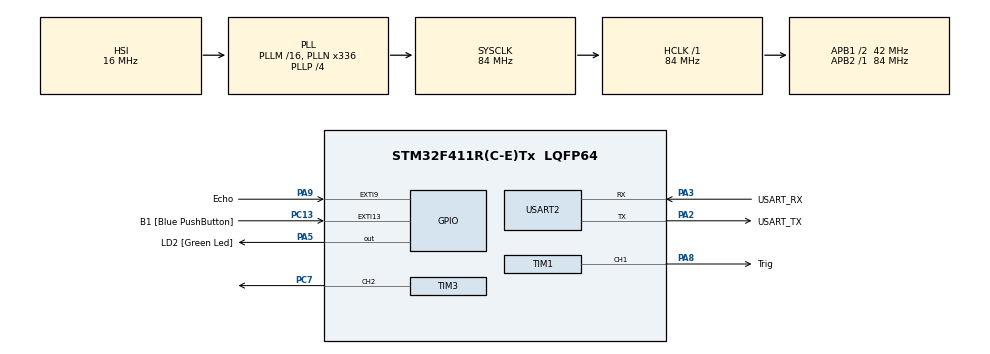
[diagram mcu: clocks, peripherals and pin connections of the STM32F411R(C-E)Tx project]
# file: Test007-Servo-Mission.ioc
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Mcu.Family=STM32F4
Mcu.Name=STM32F411R(C-E)Tx
Mcu.Package=LQFP64
NVIC.EXTI9_5_IRQn=true\:0\:0\:false\:false\:true\:true\:true\:true
NVIC.PriorityGroup=NVIC_PRIORITYGROUP_0
PA13.GPIO_Label=TMS
PA13.Mode=Serial_Wire
PA13.Signal=SYS_JTMS-SWDIO
PA14.GPIO_Label=TCK
PA14.Mode=Serial_Wire
PA14.Signal=SYS_JTCK-SWCLK
PA2.GPIO_Label=USART_TX
PA2.Mode=Asynchronous
PA2.Signal=USART2_TX
PA3.GPIO_Label=USART_RX
PA3.Mode=Asynchronous
PA3.Signal=USART2_RX
PA5.GPIO_Label=LD2 [Green Led]
PA5.Signal=GPIO_Output
PA8.GPIO_Label=Trig
PA8.Signal=S_TIM1_CH1
PA9.GPIO_Label=Echo
PA9.GPIO_ModeDefaultEXTI=GPIO_MODE_IT_RISING_FALLING
PA9.Signal=GPXTI9
PB3.GPIO_Label=SWO
PB3.Signal=SYS_JTDO-SWO
PC13-ANTI_TAMP.GPIO_Label=B1 [Blue PushButton]
PC13-ANTI_TAMP.GPIO_ModeDefaultEXTI=GPIO_MODE_IT_FALLING
PC13-ANTI_TAMP.Signal=GPXTI13
PC14-OSC32_IN.Mode=LSE-External-Oscillator
PC14-OSC32_IN.Signal=RCC_OSC32_IN
PC15-OSC32_OUT.Mode=LSE-External-Oscillator
PC15-OSC32_OUT.Signal=RCC_OSC32_OUT
PC7.Signal=S_TIM3_CH2
PH0\ -\ OSC_IN.Mode=HSE-External-Clock-Source
PH0\ -\ OSC_IN.Signal=RCC_OSC_IN
PH1\ -\ OSC_OUT.Mode=HSE-External-Clock-Source
PH1\ -\ OSC_OUT.Signal=RCC_OSC_OUT
ProjectManager.HeapSize=0x200
ProjectManager.StackSize=0x400
ProjectManager.TargetToolchain=STM32CubeIDE
RCC.48MHZClocksFreq_Value=84000000
RCC.AHBFreq_Value=84000000
RCC.APB1CLKDivider=RCC_HCLK_DIV2
RCC.APB1Freq_Value=42000000
RCC.APB1TimFreq_Value=84000000
RCC.APB2Freq_Value=84000000
RCC.APB2TimFreq_Value=84000000
RCC.CortexFreq_Value=84000000
RCC.FLatency-AdvancedSettings=FLASH_LATENCY_2
RCC.HCLKFreq_Value=84000000
RCC.HSE_VALUE=8000000
RCC.HSI_VALUE=16000000
RCC.PLLN=336
RCC.PLLP=RCC_PLLP_DIV4
RCC.SYSCLKFreq_VALUE=84000000
RCC.SYSCLKSource=RCC_SYSCLKSOURCE_PLLCLK
RCC.VCOOutputFreq_Value=336000000
SH.S_TIM1_CH1.0=TIM1_CH1,PWM Generation1 CH1
SH.S_TIM3_CH2.0=TIM3_CH2,PWM Generation2 CH2
TIM1.Channel-PWM\ Generation1\ CH1=TIM_CHANNEL_1
TIM1.Period=60000-1
TIM1.Prescaler=84-1
TIM1.Pulse-PWM\ Generation1\ CH1=10
TIM2.Prescaler=84-1
TIM3.Channel-PWM\ Generation2\ CH2=TIM_CHANNEL_2
TIM3.Period=1000-1
TIM3.Prescaler=1680-1
USART2.VirtualMode=VM_ASYNC
VP_TIM1_VS_ClockSourceINT.Mode=Internal
VP_TIM2_VS_ClockSourceINT.Mode=Internal
VP_TIM3_VS_ClockSourceINT.Mode=Internal
board=NUCLEO-F411RE

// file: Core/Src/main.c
/* USER CODE BEGIN Header */
/**
  ******************************************************************************
  * @file           : main.c
  * @brief          : Main program body
  ******************************************************************************
  * @attention
  *
  * Copyright (c) 2025 STMicroelectronics.
  * All rights reserved.
  *
  * This software is licensed under terms that can be found in the LICENSE file
  * in the root directory of this software component.
  * If no LICENSE file comes with this software, it is provided AS-IS.
  *
  ******************************************************************************
  */
/* USER CODE END Header */
#include "main.h"

/* USER CODE BEGIN Includes */
#include "uSonic.h"

/* USER CODE END Includes */

TIM_HandleTypeDef htim1;
TIM_HandleTypeDef htim2;
TIM_HandleTypeDef htim3;

UART_HandleTypeDef huart2;

void SystemClock_Config(void);
static void MX_GPIO_Init(void);
static void MX_USART2_UART_Init(void);
static void MX_TIM1_Init(void);
static void MX_TIM2_Init(void);
static void MX_TIM3_Init(void);

/* USER CODE BEGIN 0 */
int t1 = 0, t2 = 0;
double dist = 0.0;
void HAL_GPIO_EXTI_Callback(uint16_t GPIO_Pin)
{
	if(GPIO_Pin == Echo_Pin)
	{
		if(HAL_GPIO_ReadPin(Echo_GPIO_Port,Echo_Pin) == 1)//rising time
		{
			t1 = htim2.Instance->CNT;
		}
		else //falling time
		{
			t2 = htim2.Instance->CNT;
			dist = (t2-t1) * 0.17;
		}
	}
}
/* USER CODE END 0 */

int main(void)
{

  /* MCU Configuration--------------------------------------------------------*/

  /* Reset of all peripherals, Initializes the Flash interface and the Systick. */
  HAL_Init();

  /* Configure the system clock */
  SystemClock_Config();

  /* Initialize all configured peripherals */
  MX_GPIO_Init();
  MX_USART2_UART_Init();
  MX_TIM1_Init();
  MX_TIM2_Init();
  MX_TIM3_Init();
  /* USER CODE BEGIN 2 */
  ProgramStart("Mission - DoorLock");
  HAL_TIM_Base_Start(&htim2);
  HAL_TIM_PWM_Start(&htim1,TIM_CHANNEL_1);
  HAL_TIM_PWM_Start(&htim3,TIM_CHANNEL_2);

  htim1.Instance->CCR1 = 10;
  htim3.Instance->CCR2 = 50;
  /* USER CODE END 2 */

  /* Infinite loop */
  /* USER CODE BEGIN WHILE */
  int cval;
  int open = 50;
  while (1)
  {
	  /*printf("Input Angle : ");
	  scanf("%d",&cval);
	  htim3.Instance->CCR2 = cval;
	  printf("Angle : %d \n\r",cval );
	  HAL_Delay(500);
	  */

	  int iDist = dist /10; //mm -> cm
	  Cursor(0,5);
	  printf("Distance : %d cm \r\n", iDist);

	  if(iDist < open)
		  {
			  printf(" Door Open. \r\n");
		  	  htim3.Instance->CCR2 = 102;
		  }
	  else
		  {
			  printf(" Door Close. \r\n");
		  	  htim3.Instance->CCR2 = 48;
		  }
	  HAL_Delay(500);
    /* USER CODE END WHILE */

  }
}

void SystemClock_Config(void)
{
  RCC_OscInitTypeDef RCC_OscInitStruct = {0};
  RCC_ClkInitTypeDef RCC_ClkInitStruct = {0};

  /** Configure the main internal regulator output voltage
  */
  __HAL_RCC_PWR_CLK_ENABLE();
  __HAL_PWR_VOLTAGESCALING_CONFIG(PWR_REGULATOR_VOLTAGE_SCALE1);

  /** Initializes the RCC Oscillators according to the specified parameters
  * in the RCC_OscInitTypeDef structure.
  */
  RCC_OscInitStruct.OscillatorType = RCC_OSCILLATORTYPE_HSI;
  RCC_OscInitStruct.HSIState = RCC_HSI_ON;
  RCC_OscInitStruct.HSICalibrationValue = RCC_HSICALIBRATION_DEFAULT;
  RCC_OscInitStruct.PLL.PLLState = RCC_PLL_ON;
  RCC_OscInitStruct.PLL.PLLSource = RCC_PLLSOURCE_HSI;
  RCC_OscInitStruct.PLL.PLLM = 16;
  RCC_OscInitStruct.PLL.PLLN = 336;
  RCC_OscInitStruct.PLL.PLLP = RCC_PLLP_DIV4;
  RCC_OscInitStruct.PLL.PLLQ = 4;
  if (HAL_RCC_OscConfig(&RCC_OscInitStruct) != HAL_OK)
  {
    Error_Handler();
  }

  /** Initializes the CPU, AHB and APB buses clocks
  */
  RCC_ClkInitStruct.ClockType = RCC_CLOCKTYPE_HCLK|RCC_CLOCKTYPE_SYSCLK
                              |RCC_CLOCKTYPE_PCLK1|RCC_CLOCKTYPE_PCLK2;
  RCC_ClkInitStruct.SYSCLKSource = RCC_SYSCLKSOURCE_PLLCLK;
  RCC_ClkInitStruct.AHBCLKDivider = RCC_SYSCLK_DIV1;
  RCC_ClkInitStruct.APB1CLKDivider = RCC_HCLK_DIV2;
  RCC_ClkInitStruct.APB2CLKDivider = RCC_HCLK_DIV1;

  if (HAL_RCC_ClockConfig(&RCC_ClkInitStruct, FLASH_LATENCY_2) != HAL_OK)
  {
    Error_Handler();
  }
}

static void MX_TIM1_Init(void)
{

  TIM_ClockConfigTypeDef sClockSourceConfig = {0};
  TIM_MasterConfigTypeDef sMasterConfig = {0};
  TIM_OC_InitTypeDef sConfigOC = {0};
  TIM_BreakDeadTimeConfigTypeDef sBreakDeadTimeConfig = {0};

  htim1.Instance = TIM1;
  htim1.Init.Prescaler = 84-1;
  htim1.Init.CounterMode = TIM_COUNTERMODE_UP;
  htim1.Init.Period = 60000-1;
  htim1.Init.ClockDivision = TIM_CLOCKDIVISION_DIV1;
  htim1.Init.RepetitionCounter = 0;
  htim1.Init.AutoReloadPreload = TIM_AUTORELOAD_PRELOAD_DISABLE;
  if (HAL_TIM_Base_Init(&htim1) != HAL_OK)
  {
    Error_Handler();
  }
  sClockSourceConfig.ClockSource = TIM_CLOCKSOURCE_INTERNAL;
  if (HAL_TIM_ConfigClockSource(&htim1, &sClockSourceConfig) != HAL_OK)
  {
    Error_Handler();
  }
  if (HAL_TIM_PWM_Init(&htim1) != HAL_OK)
  {
    Error_Handler();
  }
  sMasterConfig.MasterOutputTrigger = TIM_TRGO_RESET;
  sMasterConfig.MasterSlaveMode = TIM_MASTERSLAVEMODE_DISABLE;
  if (HAL_TIMEx_MasterConfigSynchronization(&htim1, &sMasterConfig) != HAL_OK)
  {
    Error_Handler();
  }
  sConfigOC.OCMode = TIM_OCMODE_PWM1;
  sConfigOC.Pulse = 10;
  sConfigOC.OCPolarity = TIM_OCPOLARITY_HIGH;
  sConfigOC.OCNPolarity = TIM_OCNPOLARITY_HIGH;
  sConfigOC.OCFastMode = TIM_OCFAST_DISABLE;
  sConfigOC.OCIdleState = TIM_OCIDLESTATE_RESET;
  sConfigOC.OCNIdleState = TIM_OCNIDLESTATE_RESET;
  if (HAL_TIM_PWM_ConfigChannel(&htim1, &sConfigOC, TIM_CHANNEL_1) != HAL_OK)
  {
    Error_Handler();
  }
  sBreakDeadTimeConfig.OffStateRunMode = TIM_OSSR_DISABLE;
  sBreakDeadTimeConfig.OffStateIDLEMode = TIM_OSSI_DISABLE;
  sBreakDeadTimeConfig.LockLevel = TIM_LOCKLEVEL_OFF;
  sBreakDeadTimeConfig.DeadTime = 0;
  sBreakDeadTimeConfig.BreakState = TIM_BREAK_DISABLE;
  sBreakDeadTimeConfig.BreakPolarity = TIM_BREAKPOLARITY_HIGH;
  sBreakDeadTimeConfig.AutomaticOutput = TIM_AUTOMATICOUTPUT_DISABLE;
  if (HAL_TIMEx_ConfigBreakDeadTime(&htim1, &sBreakDeadTimeConfig) != HAL_OK)
  {
    Error_Handler();
  }
  HAL_TIM_MspPostInit(&htim1);

}

static void MX_TIM2_Init(void)
{

  TIM_ClockConfigTypeDef sClockSourceConfig = {0};
  TIM_MasterConfigTypeDef sMasterConfig = {0};

  htim2.Instance = TIM2;
  htim2.Init.Prescaler = 84-1;
  htim2.Init.CounterMode = TIM_COUNTERMODE_UP;
  htim2.Init.Period = 4294967295;
  htim2.Init.ClockDivision = TIM_CLOCKDIVISION_DIV1;
  htim2.Init.AutoReloadPreload = TIM_AUTORELOAD_PRELOAD_DISABLE;
  if (HAL_TIM_Base_Init(&htim2) != HAL_OK)
  {
    Error_Handler();
  }
  sClockSourceConfig.ClockSource = TIM_CLOCKSOURCE_INTERNAL;
  if (HAL_TIM_ConfigClockSource(&htim2, &sClockSourceConfig) != HAL_OK)
  {
    Error_Handler();
  }
  sMasterConfig.MasterOutputTrigger = TIM_TRGO_RESET;
  sMasterConfig.MasterSlaveMode = TIM_MASTERSLAVEMODE_DISABLE;
  if (HAL_TIMEx_MasterConfigSynchronization(&htim2, &sMasterConfig) != HAL_OK)
  {
    Error_Handler();
  }

}

static void MX_TIM3_Init(void)
{

  TIM_ClockConfigTypeDef sClockSourceConfig = {0};
  TIM_MasterConfigTypeDef sMasterConfig = {0};
  TIM_OC_InitTypeDef sConfigOC = {0};

  htim3.Instance = TIM3;
  htim3.Init.Prescaler = 1680-1;
  htim3.Init.CounterMode = TIM_COUNTERMODE_UP;
  htim3.Init.Period = 1000-1;
  htim3.Init.ClockDivision = TIM_CLOCKDIVISION_DIV1;
  htim3.Init.AutoReloadPreload = TIM_AUTORELOAD_PRELOAD_DISABLE;
  if (HAL_TIM_Base_Init(&htim3) != HAL_OK)
  {
    Error_Handler();
  }
  sClockSourceConfig.ClockSource = TIM_CLOCKSOURCE_INTERNAL;
  if (HAL_TIM_ConfigClockSource(&htim3, &sClockSourceConfig) != HAL_OK)
  {
    Error_Handler();
  }
  if (HAL_TIM_PWM_Init(&htim3) != HAL_OK)
  {
    Error_Handler();
  }
  sMasterConfig.MasterOutputTrigger = TIM_TRGO_RESET;
  sMasterConfig.MasterSlaveMode = TIM_MASTERSLAVEMODE_DISABLE;
  if (HAL_TIMEx_MasterConfigSynchronization(&htim3, &sMasterConfig) != HAL_OK)
  {
    Error_Handler();
  }
  sConfigOC.OCMode = TIM_OCMODE_PWM1;
  sConfigOC.Pulse = 0;
  sConfigOC.OCPolarity = TIM_OCPOLARITY_HIGH;
  sConfigOC.OCFastMode = TIM_OCFAST_DISABLE;
  if (HAL_TIM_PWM_ConfigChannel(&htim3, &sConfigOC, TIM_CHANNEL_2) != HAL_OK)
  {
    Error_Handler();
  }
  HAL_TIM_MspPostInit(&htim3);

}

static void MX_USART2_UART_Init(void)
{

  huart2.Instance = USART2;
  huart2.Init.BaudRate = 115200;
  huart2.Init.WordLength = UART_WORDLENGTH_8B;
  huart2.Init.StopBits = UART_STOPBITS_1;
  huart2.Init.Parity = UART_PARITY_NONE;
  huart2.Init.Mode = UART_MODE_TX_RX;
  huart2.Init.HwFlowCtl = UART_HWCONTROL_NONE;
  huart2.Init.OverSampling = UART_OVERSAMPLING_16;
  if (HAL_UART_Init(&huart2) != HAL_OK)
  {
    Error_Handler();
  }

}

static void MX_GPIO_Init(void)
{
  GPIO_InitTypeDef GPIO_InitStruct = {0};

  /* GPIO Ports Clock Enable */
  __HAL_RCC_GPIOC_CLK_ENABLE();
  __HAL_RCC_GPIOH_CLK_ENABLE();
  __HAL_RCC_GPIOA_CLK_ENABLE();
  __HAL_RCC_GPIOB_CLK_ENABLE();

  /*Configure GPIO pin Output Level */
  HAL_GPIO_WritePin(LD2_GPIO_Port, LD2_Pin, GPIO_PIN_RESET);

  /*Configure GPIO pin : B1_Pin */
  GPIO_InitStruct.Pin = B1_Pin;
  GPIO_InitStruct.Mode = GPIO_MODE_IT_FALLING;
  GPIO_InitStruct.Pull = GPIO_NOPULL;
  HAL_GPIO_Init(B1_GPIO_Port, &GPIO_InitStruct);

  /*Configure GPIO pin : LD2_Pin */
  GPIO_InitStruct.Pin = LD2_Pin;
  GPIO_InitStruct.Mode = GPIO_MODE_OUTPUT_PP;
  GPIO_InitStruct.Pull = GPIO_NOPULL;
  GPIO_InitStruct.Speed = GPIO_SPEED_FREQ_LOW;
  HAL_GPIO_Init(LD2_GPIO_Port, &GPIO_InitStruct);

  /*Configure GPIO pin : Echo_Pin */
  GPIO_InitStruct.Pin = Echo_Pin;
  GPIO_InitStruct.Mode = GPIO_MODE_IT_RISING_FALLING;
  GPIO_InitStruct.Pull = GPIO_NOPULL;
  HAL_GPIO_Init(Echo_GPIO_Port, &GPIO_InitStruct);

  /* EXTI interrupt init*/
  HAL_NVIC_SetPriority(EXTI9_5_IRQn, 0, 0);
  HAL_NVIC_EnableIRQ(EXTI9_5_IRQn);

}

void Error_Handler(void)
{
  __disable_irq();
  while (1)
  {
  }
}
